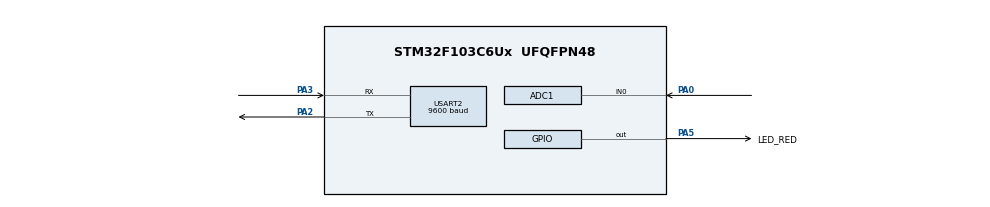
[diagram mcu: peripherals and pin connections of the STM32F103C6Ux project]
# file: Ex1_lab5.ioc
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ADC1.Channel-0\#ChannelRegularConversion=ADC_CHANNEL_0
ADC1.ContinuousConvMode=ENABLE
ADC1.NbrOfConversionFlag=1
ADC1.Rank-0\#ChannelRegularConversion=1
ADC1.SamplingTime-0\#ChannelRegularConversion=ADC_SAMPLETIME_1CYCLE_5
ADC1.master=1
Mcu.Family=STM32F1
Mcu.Name=STM32F103C6Ux
Mcu.Package=UFQFPN48
NVIC.ADC1_2_IRQn=true\:0\:0\:false\:false\:true\:true\:true
NVIC.PriorityGroup=NVIC_PRIORITYGROUP_4
NVIC.TIM2_IRQn=true\:0\:0\:false\:false\:true\:true\:true
NVIC.USART2_IRQn=true\:0\:0\:false\:false\:true\:true\:true
PA0-WKUP.Signal=ADCx_IN0
PA2.Mode=Asynchronous
PA2.Signal=USART2_TX
PA3.Mode=Asynchronous
PA3.Signal=USART2_RX
PA5.GPIO_Label=LED_RED
PA5.Signal=GPIO_Output
ProjectManager.HeapSize=0x200
ProjectManager.StackSize=0x400
ProjectManager.TargetToolchain=STM32CubeIDE
RCC.APB1Freq_Value=8000000
RCC.APB2Freq_Value=8000000
SH.ADCx_IN0.0=ADC1_IN0,IN0
TIM2.Period=9
TIM2.Prescaler=7999
USART2.BaudRate=9600
USART2.VirtualMode=VM_ASYNC
VP_SYS_VS_ND.Mode=No_Debug
VP_TIM2_VS_ClockSourceINT.Mode=Internal
board=custom

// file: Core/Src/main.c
/* USER CODE BEGIN Header */
/**
  ******************************************************************************
  * @file           : main.c
  * @brief          : Main program body
  ******************************************************************************
  * @attention
  *
  * <h2><center>&copy; Copyright (c) 2024 STMicroelectronics.
  * All rights reserved.</center></h2>
  *
  * This software component is licensed by ST under BSD 3-Clause license,
  * the "License"; You may not use this file except in compliance with the
  * License. You may obtain a copy of the License at:
  *                        opensource.org/licenses/BSD-3-Clause
  *
  ******************************************************************************
  */
/* USER CODE END Header */
#include "main.h"

/* USER CODE BEGIN Includes */
#include "timer.h"
#include "uart.h"
/* USER CODE END Includes */

ADC_HandleTypeDef hadc1;

TIM_HandleTypeDef htim2;

UART_HandleTypeDef huart2;

void SystemClock_Config(void);
static void MX_GPIO_Init(void);
static void MX_ADC1_Init(void);
static void MX_TIM2_Init(void);
static void MX_USART2_UART_Init(void);

int main(void)
{

  /* MCU Configuration--------------------------------------------------------*/

  /* Reset of all peripherals, Initializes the Flash interface and the Systick. */
  HAL_Init();

  /* Configure the system clock */
  SystemClock_Config();

  /* Initialize all configured peripherals */
  MX_GPIO_Init();
  MX_ADC1_Init();
  MX_TIM2_Init();
  MX_USART2_UART_Init();
  /* USER CODE BEGIN 2 */
  HAL_TIM_Base_Start_IT (& htim2);
  HAL_ADC_Start(&hadc1);
  /* USER CODE END 2 */

  /* Infinite loop */
  /* USER CODE BEGIN WHILE */
  uint8_t initial_data[]="Wait...\r\n";
  HAL_Delay(1000);
  HAL_UART_Transmit(&huart2, initial_data, sizeof(initial_data), 1000);
  HAL_UART_Receive_IT(&huart2, &temp, 1);
  setTimer1(1000);
  while (1)
  {
	  if (buffer_flag==1){
	 		  command_parser_fsm();
	 		  buffer_flag=0;
	 	  }
	 	  uart_communication_fsm();
	 	  if (getTimer1Flag()){
	 		  setTimer1(1000);
	 		  HAL_GPIO_TogglePin(LED_RED_GPIO_Port, LED_RED_Pin);
	 	  }
    /* USER CODE END WHILE */

  }
}

void SystemClock_Config(void)
{
  RCC_OscInitTypeDef RCC_OscInitStruct = {0};
  RCC_ClkInitTypeDef RCC_ClkInitStruct = {0};
  RCC_PeriphCLKInitTypeDef PeriphClkInit = {0};

  /** Initializes the RCC Oscillators according to the specified parameters
  * in the RCC_OscInitTypeDef structure.
  */
  RCC_OscInitStruct.OscillatorType = RCC_OSCILLATORTYPE_HSI;
  RCC_OscInitStruct.HSIState = RCC_HSI_ON;
  RCC_OscInitStruct.HSICalibrationValue = RCC_HSICALIBRATION_DEFAULT;
  RCC_OscInitStruct.PLL.PLLState = RCC_PLL_NONE;
  if (HAL_RCC_OscConfig(&RCC_OscInitStruct) != HAL_OK)
  {
    Error_Handler();
  }
  /** Initializes the CPU, AHB and APB buses clocks
  */
  RCC_ClkInitStruct.ClockType = RCC_CLOCKTYPE_HCLK|RCC_CLOCKTYPE_SYSCLK
                              |RCC_CLOCKTYPE_PCLK1|RCC_CLOCKTYPE_PCLK2;
  RCC_ClkInitStruct.SYSCLKSource = RCC_SYSCLKSOURCE_HSI;
  RCC_ClkInitStruct.AHBCLKDivider = RCC_SYSCLK_DIV1;
  RCC_ClkInitStruct.APB1CLKDivider = RCC_HCLK_DIV1;
  RCC_ClkInitStruct.APB2CLKDivider = RCC_HCLK_DIV1;

  if (HAL_RCC_ClockConfig(&RCC_ClkInitStruct, FLASH_LATENCY_0) != HAL_OK)
  {
    Error_Handler();
  }
  PeriphClkInit.PeriphClockSelection = RCC_PERIPHCLK_ADC;
  PeriphClkInit.AdcClockSelection = RCC_ADCPCLK2_DIV2;
  if (HAL_RCCEx_PeriphCLKConfig(&PeriphClkInit) != HAL_OK)
  {
    Error_Handler();
  }
}

static void MX_ADC1_Init(void)
{

  ADC_ChannelConfTypeDef sConfig = {0};

  /** Common config
  */
  hadc1.Instance = ADC1;
  hadc1.Init.ScanConvMode = ADC_SCAN_DISABLE;
  hadc1.Init.ContinuousConvMode = ENABLE;
  hadc1.Init.DiscontinuousConvMode = DISABLE;
  hadc1.Init.ExternalTrigConv = ADC_SOFTWARE_START;
  hadc1.Init.DataAlign = ADC_DATAALIGN_RIGHT;
  hadc1.Init.NbrOfConversion = 1;
  if (HAL_ADC_Init(&hadc1) != HAL_OK)
  {
    Error_Handler();
  }
  /** Configure Regular Channel
  */
  sConfig.Channel = ADC_CHANNEL_0;
  sConfig.Rank = ADC_REGULAR_RANK_1;
  sConfig.SamplingTime = ADC_SAMPLETIME_1CYCLE_5;
  if (HAL_ADC_ConfigChannel(&hadc1, &sConfig) != HAL_OK)
  {
    Error_Handler();
  }

}

static void MX_TIM2_Init(void)
{

  TIM_ClockConfigTypeDef sClockSourceConfig = {0};
  TIM_MasterConfigTypeDef sMasterConfig = {0};

  htim2.Instance = TIM2;
  htim2.Init.Prescaler = 7999;
  htim2.Init.CounterMode = TIM_COUNTERMODE_UP;
  htim2.Init.Period = 9;
  htim2.Init.ClockDivision = TIM_CLOCKDIVISION_DIV1;
  htim2.Init.AutoReloadPreload = TIM_AUTORELOAD_PRELOAD_DISABLE;
  if (HAL_TIM_Base_Init(&htim2) != HAL_OK)
  {
    Error_Handler();
  }
  sClockSourceConfig.ClockSource = TIM_CLOCKSOURCE_INTERNAL;
  if (HAL_TIM_ConfigClockSource(&htim2, &sClockSourceConfig) != HAL_OK)
  {
    Error_Handler();
  }
  sMasterConfig.MasterOutputTrigger = TIM_TRGO_RESET;
  sMasterConfig.MasterSlaveMode = TIM_MASTERSLAVEMODE_DISABLE;
  if (HAL_TIMEx_MasterConfigSynchronization(&htim2, &sMasterConfig) != HAL_OK)
  {
    Error_Handler();
  }

}

static void MX_USART2_UART_Init(void)
{

  huart2.Instance = USART2;
  huart2.Init.BaudRate = 9600;
  huart2.Init.WordLength = UART_WORDLENGTH_8B;
  huart2.Init.StopBits = UART_STOPBITS_1;
  huart2.Init.Parity = UART_PARITY_NONE;
  huart2.Init.Mode = UART_MODE_TX_RX;
  huart2.Init.HwFlowCtl = UART_HWCONTROL_NONE;
  huart2.Init.OverSampling = UART_OVERSAMPLING_16;
  if (HAL_UART_Init(&huart2) != HAL_OK)
  {
    Error_Handler();
  }

}

static void MX_GPIO_Init(void)
{
  GPIO_InitTypeDef GPIO_InitStruct = {0};

  /* GPIO Ports Clock Enable */
  __HAL_RCC_GPIOA_CLK_ENABLE();

  /*Configure GPIO pin Output Level */
  HAL_GPIO_WritePin(LED_RED_GPIO_Port, LED_RED_Pin, GPIO_PIN_RESET);

  /*Configure GPIO pin : LED_RED_Pin */
  GPIO_InitStruct.Pin = LED_RED_Pin;
  GPIO_InitStruct.Mode = GPIO_MODE_OUTPUT_PP;
  GPIO_InitStruct.Pull = GPIO_NOPULL;
  GPIO_InitStruct.Speed = GPIO_SPEED_FREQ_LOW;
  HAL_GPIO_Init(LED_RED_GPIO_Port, &GPIO_InitStruct);

}

/* USER CODE BEGIN 4 */
void HAL_UART_RxCpltCallback ( UART_HandleTypeDef * huart ){
	if(huart -> Instance == USART2 ){
//		buffer[index_buffer]=temp;
//		index_buffer=(index_buffer+1) % MAX_BUFFER_SIZE;
		buffer[index_buffer++]=temp ;
		if(index_buffer==30)index_buffer=0;
		buffer_flag=1;
		buffer_count++;
		HAL_UART_Transmit(&huart2, &temp, 1, 1000);
		HAL_UART_Receive_IT(&huart2, &temp, 1);
	}
}
void HAL_TIM_PeriodElapsedCallback(TIM_HandleTypeDef *htim) {
	timer_run();
}

/* USER CODE END 4 */

void Error_Handler(void)
{
  __disable_irq();
  while (1)
  {
  }
}

/************************ (C) COPYRIGHT STMicroelectronics *****END OF FILE****/
